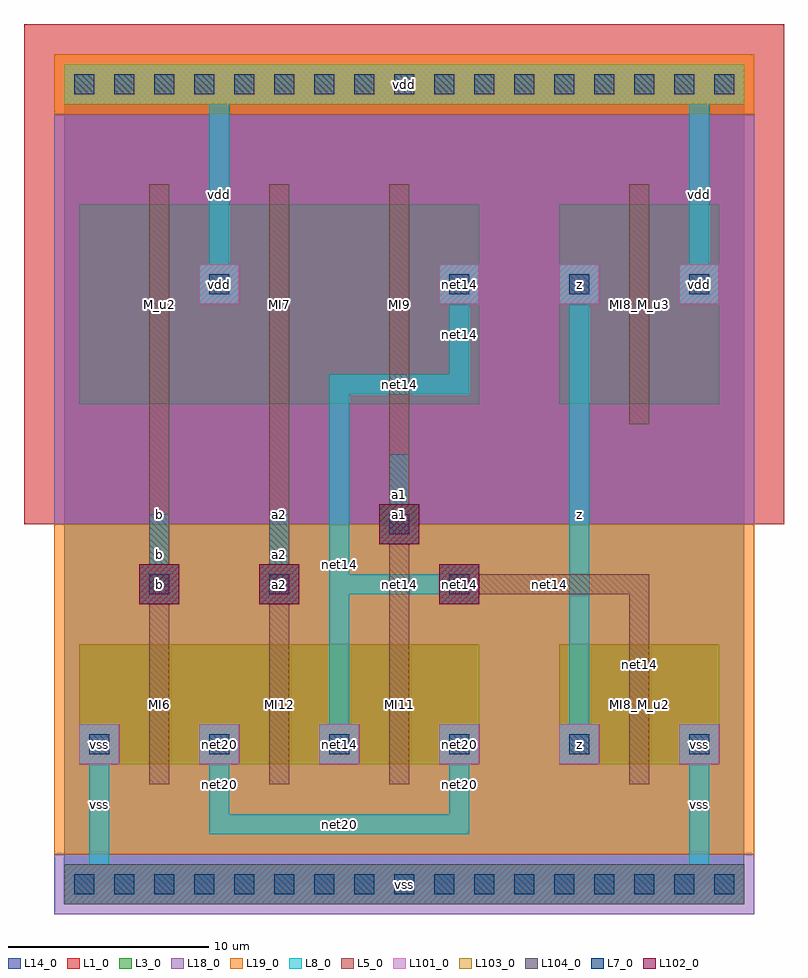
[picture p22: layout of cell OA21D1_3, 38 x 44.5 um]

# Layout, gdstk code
import gdstk
lib = gdstk.Library(unit=1e-6, precision=1e-09)
def R(c, l, rs):  # rectangles x0, y0, x1, y1
    for r in rs: c.add(gdstk.rectangle(r[:2], r[2:], *l))
def A(c, l, x, y, w, h, nx, ny, dx, dy):  # array of equal rectangles
    R(c, l, [(x+i*dx, y+j*dy, x+i*dx+w, y+j*dy+h) for i in range(nx) for j in range(ny)])
L1_0 = (1, 0)
L3_0 = (3, 0)
L5_0 = (5, 0)
L7_0 = (7, 0)
L8_0 = (8, 0)
L13_0 = (13, 0)
L14_0 = (14, 0)
L18_0 = (18, 0)
L19_0 = (19, 0)
L101_0 = (101, 0)
L102_0 = (102, 0)
L103_0 = (103, 0)
L104_0 = (104, 0)

oa21d1_3 = lib.new_cell('OA21D1_3')
R(oa21d1_3, L1_0, [(-2,18,36,43)])
A(oa21d1_3, L3_0, 0.75, 6, 8, 6, 3, 1, 6, 0)
A(oa21d1_3, L3_0, 0.75, 6, 2, 2, 6, 1, 6, 0)
A(oa21d1_3, L3_0, 0.75, 24, 8, 10, 3, 1, 6, 0)
A(oa21d1_3, L3_0, 18.75, 29, 2, 2, 3, 1, 6, 0)
R(oa21d1_3, L3_0, [(0,-1,34,1), (0,-1,34,1), (24.75,6,32.75,12), (24.75,24,32.75,34), (6.75,29,8.75,31), (0,39,34,41), (0,39,34,41)])
A(oa21d1_3, L5_0, 4.25, 5, 1, 8, 3, 1, 6, 0)
A(oa21d1_3, L5_0, 4.25, 6.5, 1, 24, 3, 1, 6, 0)
A(oa21d1_3, L5_0, 4.25, 23, 1, 12, 3, 1, 6, 0)
R(oa21d1_3, L5_0, [(28.25,5,29.25,13), (28.25,6.5,29.25,15.5), (3.75,14,5.75,16), (9.75,14,11.75,16), (18.75,14,20.75,16), (19.25,14.5,29.25,15.5), (15.75,17,17.75,19), (28.25,23,29.25,35)])
A(oa21d1_3, L7_0, 0.5, -0.5, 1, 1, 17, 2, 2, 40)
A(oa21d1_3, L7_0, 1.25, 6.5, 1, 1, 6, 1, 6, 0)
A(oa21d1_3, L7_0, 19.25, 29.5, 1, 1, 3, 1, 6, 0)
R(oa21d1_3, L7_0, [(4.25,14.5,5.25,15.5), (10.25,14.5,11.25,15.5), (19.25,14.5,20.25,15.5), (16.25,17.5,17.25,18.5), (7.25,29.5,8.25,30.5)])
A(oa21d1_3, L8_0, 0.75, 6, 2, 2, 6, 1, 6, 0)
A(oa21d1_3, L8_0, 18.75, 29, 2, 2, 3, 1, 6, 0)
R(oa21d1_3, L8_0, [(0,-1,34,1), (1.25,0.5,2.25,7.5), (31.25,0.5,32.25,7.5), (7.25,2.5,8.25,7.5), (7.25,2.5,20.25,3.5), (19.25,2.5,20.25,7.5), (13.25,6.5,14.25,25.5), (25.25,6.5,26.25,30.5), (3.75,14,5.75,16), (9.75,14,11.75,16), (18.75,14,20.75,16), (4.25,14.5,5.25,18.5), (10.25,14.5,11.25,18.5), (13.25,14.5,20.25,15.5), (15.75,17,17.75,19), (16.25,17.5,17.25,21.5), (13.25,24.5,20.25,25.5), (19.25,24.5,20.25,30.5), (6.75,29,8.75,31), (7.25,29.5,8.25,39.5), (31.25,29.5,32.25,39.5), (0,39,34,41)])
R(oa21d1_3, L14_0, [(0,0,34,40)])
R(oa21d1_3, L18_0, [(-0.5,-1.5,34.5,1.5), (-0.5,18,34.5,38.5)])
R(oa21d1_3, L19_0, [(-0.5,1.5,34.5,18), (-0.5,38.5,34.5,41.5)])
A(oa21d1_3, L101_0, 0, -1, 2, 2, 17, 2, 2, 40)
A(oa21d1_3, L101_0, 0.75, 6, 2, 2, 6, 1, 6, 0)
A(oa21d1_3, L101_0, 18.75, 29, 2, 2, 3, 1, 6, 0)
R(oa21d1_3, L101_0, [(6.75,29,8.75,31)])
R(oa21d1_3, L102_0, [(3.75,14,5.75,16), (9.75,14,11.75,16), (18.75,14,20.75,16), (15.75,17,17.75,19)])
R(oa21d1_3, L103_0, [(0,39,34,41)])
R(oa21d1_3, L104_0, [(0,-1,34,1)])
oa21d1_3.add(gdstk.FlexPath([(0.75,3),(32.75,3)], 0, ends="flush", simple_path=True, layer=13, datatype=0))  # L13_0
oa21d1_3.add(gdstk.FlexPath([(0.75,7),(32.75,7)], 0, ends="flush", simple_path=True, layer=13, datatype=0))  # L13_0
oa21d1_3.add(gdstk.FlexPath([(0.75,11),(32.75,11)], 0, ends="flush", simple_path=True, layer=13, datatype=0))  # L13_0
oa21d1_3.add(gdstk.FlexPath([(0.75,15),(32.75,15)], 0, ends="flush", simple_path=True, layer=13, datatype=0))  # L13_0
oa21d1_3.add(gdstk.FlexPath([(0.75,18),(32.75,18)], 0, ends="flush", simple_path=True, layer=13, datatype=0))  # L13_0
oa21d1_3.add(gdstk.FlexPath([(0.75,21),(32.75,21)], 0, ends="flush", simple_path=True, layer=13, datatype=0))  # L13_0
oa21d1_3.add(gdstk.FlexPath([(0.75,25),(32.75,25)], 0, ends="flush", simple_path=True, layer=13, datatype=0))  # L13_0
oa21d1_3.add(gdstk.FlexPath([(0.75,30),(32.75,30)], 0, ends="flush", simple_path=True, layer=13, datatype=0))  # L13_0
oa21d1_3.add(gdstk.FlexPath([(0.75,33),(32.75,33)], 0, ends="flush", simple_path=True, layer=13, datatype=0))  # L13_0
oa21d1_3.add(gdstk.FlexPath([(0.75,37),(32.75,37)], 0, ends="flush", simple_path=True, layer=13, datatype=0))  # L13_0
oa21d1_3.add(gdstk.FlexPath([(1.75,0.5),(1.75,39.5)], 0, ends="flush", simple_path=True, layer=13, datatype=0))  # L13_0
oa21d1_3.add(gdstk.FlexPath([(4.75,0.5),(4.75,39.5)], 0, ends="flush", simple_path=True, layer=13, datatype=0))  # L13_0
oa21d1_3.add(gdstk.FlexPath([(7.75,0.5),(7.75,39.5)], 0, ends="flush", simple_path=True, layer=13, datatype=0))  # L13_0
oa21d1_3.add(gdstk.FlexPath([(10.75,0.5),(10.75,39.5)], 0, ends="flush", simple_path=True, layer=13, datatype=0))  # L13_0
oa21d1_3.add(gdstk.FlexPath([(13.75,0.5),(13.75,39.5)], 0, ends="flush", simple_path=True, layer=13, datatype=0))  # L13_0
oa21d1_3.add(gdstk.FlexPath([(16.75,0.5),(16.75,39.5)], 0, ends="flush", simple_path=True, layer=13, datatype=0))  # L13_0
oa21d1_3.add(gdstk.FlexPath([(19.75,0.5),(19.75,39.5)], 0, ends="flush", simple_path=True, layer=13, datatype=0))  # L13_0
oa21d1_3.add(gdstk.FlexPath([(22.75,0.5),(22.75,39.5)], 0, ends="flush", simple_path=True, layer=13, datatype=0))  # L13_0
oa21d1_3.add(gdstk.FlexPath([(25.75,0.5),(25.75,39.5)], 0, ends="flush", simple_path=True, layer=13, datatype=0))  # L13_0
oa21d1_3.add(gdstk.FlexPath([(28.75,0.5),(28.75,39.5)], 0, ends="flush", simple_path=True, layer=13, datatype=0))  # L13_0
oa21d1_3.add(gdstk.FlexPath([(31.75,0.5),(31.75,39.5)], 0, ends="flush", simple_path=True, layer=13, datatype=0))  # L13_0
oa21d1_3.add(gdstk.Label('MI12', (10.75,9), layer=3, texttype=0))
oa21d1_3.add(gdstk.Label('MI11', (16.75,9), layer=3, texttype=0))
oa21d1_3.add(gdstk.Label('MI6', (4.75,9), layer=3, texttype=0))
oa21d1_3.add(gdstk.Label('MI8_M_u2', (28.75,9), layer=3, texttype=0))
oa21d1_3.add(gdstk.Label('MI9', (16.75,29), layer=3, texttype=0))
oa21d1_3.add(gdstk.Label('MI8_M_u3', (28.75,29), layer=3, texttype=0))
oa21d1_3.add(gdstk.Label('M_u2', (4.75,29), layer=3, texttype=0))
oa21d1_3.add(gdstk.Label('MI7', (10.75,29), layer=3, texttype=0))
oa21d1_3.add(gdstk.Label('net14', (13.75,7), layer=3, texttype=0))
oa21d1_3.add(gdstk.Label('net14', (19.75,30), layer=3, texttype=0))
oa21d1_3.add(gdstk.Label('net20', (7.75,7), layer=3, texttype=0))
oa21d1_3.add(gdstk.Label('net20', (19.75,7), layer=3, texttype=0))
oa21d1_3.add(gdstk.Label('z', (25.75,7), layer=3, texttype=0))
oa21d1_3.add(gdstk.Label('z', (25.75,30), layer=3, texttype=0))
oa21d1_3.add(gdstk.Label('vss', (1.75,7), layer=3, texttype=0))
oa21d1_3.add(gdstk.Label('vss', (31.75,7), layer=3, texttype=0))
oa21d1_3.add(gdstk.Label('vdd', (31.75,30), layer=3, texttype=0))
oa21d1_3.add(gdstk.Label('vdd', (7.75,30), layer=3, texttype=0))
oa21d1_3.add(gdstk.Label('net14', (28.75,11), layer=5, texttype=0))
oa21d1_3.add(gdstk.Label('net14', (24.25,15), layer=5, texttype=0))
oa21d1_3.add(gdstk.Label('net14', (19.75,15), layer=5, texttype=0))
oa21d1_3.add(gdstk.Label('a2', (10.75,18.5), layer=5, texttype=0))
oa21d1_3.add(gdstk.Label('a2', (10.75,15), layer=5, texttype=0))
oa21d1_3.add(gdstk.Label('a1', (16.75,18.5), layer=5, texttype=0))
oa21d1_3.add(gdstk.Label('a1', (16.75,18), layer=5, texttype=0))
oa21d1_3.add(gdstk.Label('b', (4.75,18.5), layer=5, texttype=0))
oa21d1_3.add(gdstk.Label('b', (4.75,15), layer=5, texttype=0))
oa21d1_3.add(gdstk.Label('net14', (13.75,7), layer=101, texttype=0))
oa21d1_3.add(gdstk.Label('net14', (19.75,30), layer=101, texttype=0))
oa21d1_3.add(gdstk.Label('net20', (7.75,7), layer=101, texttype=0))
oa21d1_3.add(gdstk.Label('net20', (19.75,7), layer=101, texttype=0))
oa21d1_3.add(gdstk.Label('z', (25.75,7), layer=101, texttype=0))
oa21d1_3.add(gdstk.Label('z', (25.75,30), layer=101, texttype=0))
oa21d1_3.add(gdstk.Label('vss', (1.75,7), layer=101, texttype=0))
oa21d1_3.add(gdstk.Label('vss', (31.75,7), layer=101, texttype=0))
oa21d1_3.add(gdstk.Label('vdd', (31.75,30), layer=101, texttype=0))
oa21d1_3.add(gdstk.Label('vdd', (7.75,30), layer=101, texttype=0))
oa21d1_3.add(gdstk.Label('net14', (19.75,15), layer=102, texttype=0))
oa21d1_3.add(gdstk.Label('a2', (10.75,15), layer=102, texttype=0))
oa21d1_3.add(gdstk.Label('a1', (16.75,18), layer=102, texttype=0))
oa21d1_3.add(gdstk.Label('b', (4.75,15), layer=102, texttype=0))
oa21d1_3.add(gdstk.Label('net14', (13.75,7), layer=8, texttype=0))
oa21d1_3.add(gdstk.Label('net14', (19.75,30), layer=8, texttype=0))
oa21d1_3.add(gdstk.Label('net14', (13.75,16), layer=8, texttype=0))
oa21d1_3.add(gdstk.Label('net14', (16.75,25), layer=8, texttype=0))
oa21d1_3.add(gdstk.Label('net14', (19.75,27.5), layer=8, texttype=0))
oa21d1_3.add(gdstk.Label('net14', (19.75,15), layer=8, texttype=0))
oa21d1_3.add(gdstk.Label('net14', (16.75,15), layer=8, texttype=0))
oa21d1_3.add(gdstk.Label('a2', (10.75,15), layer=8, texttype=0))
oa21d1_3.add(gdstk.Label('a2', (10.75,16.5), layer=8, texttype=0))
oa21d1_3.add(gdstk.Label('net20', (7.75,7), layer=8, texttype=0))
oa21d1_3.add(gdstk.Label('net20', (19.75,7), layer=8, texttype=0))
oa21d1_3.add(gdstk.Label('net20', (7.75,5), layer=8, texttype=0))
oa21d1_3.add(gdstk.Label('net20', (13.75,3), layer=8, texttype=0))
oa21d1_3.add(gdstk.Label('net20', (19.75,5), layer=8, texttype=0))
oa21d1_3.add(gdstk.Label('a1', (16.75,18), layer=8, texttype=0))
oa21d1_3.add(gdstk.Label('a1', (16.75,19.5), layer=8, texttype=0))
oa21d1_3.add(gdstk.Label('b', (4.75,15), layer=8, texttype=0))
oa21d1_3.add(gdstk.Label('b', (4.75,16.5), layer=8, texttype=0))
oa21d1_3.add(gdstk.Label('z', (25.75,7), layer=8, texttype=0))
oa21d1_3.add(gdstk.Label('z', (25.75,30), layer=8, texttype=0))
oa21d1_3.add(gdstk.Label('z', (25.75,18.5), layer=8, texttype=0))
oa21d1_3.add(gdstk.Label('vss', (1.75,7), layer=8, texttype=0))
oa21d1_3.add(gdstk.Label('vss', (1.75,4), layer=8, texttype=0))
oa21d1_3.add(gdstk.Label('vss', (31.75,7), layer=8, texttype=0))
oa21d1_3.add(gdstk.Label('vss', (31.75,4), layer=8, texttype=0))
oa21d1_3.add(gdstk.Label('vdd', (31.75,30), layer=8, texttype=0))
oa21d1_3.add(gdstk.Label('vdd', (31.75,34.5), layer=8, texttype=0))
oa21d1_3.add(gdstk.Label('vdd', (7.75,30), layer=8, texttype=0))
oa21d1_3.add(gdstk.Label('vdd', (7.75,34.5), layer=8, texttype=0))
oa21d1_3.add(gdstk.Label('vss', (17,0), layer=8, texttype=0))
oa21d1_3.add(gdstk.Label('vdd', (17,40), layer=8, texttype=0))

lib.write_gds('OA21D1_3.gds')
